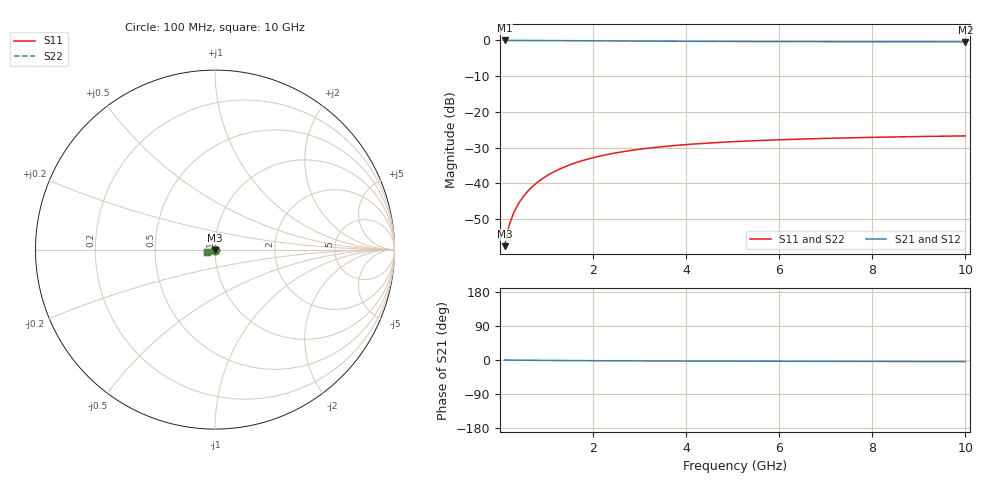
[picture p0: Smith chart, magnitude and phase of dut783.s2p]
! Touchstone file exported from HFSS 2024.1.0
!  File:  C:/UserFiles/LocalFiles/RDL_TSV_Batchsim/temp_TSV1_783_1779874740.aedt
!  Generated:  05:45:04 PM May 27, 2026
!  Design:  TSV1
!  Project:  temp_TSV1_783_1779874740
!  Setup:  Setup1
!  Solution:  Sweep
! Variables:
!  dtsv = 13.31um
!  hbump = 3um
!  htsv = 63.7um
!  lrdl = 252.1521522um
!  p = 40
!  p1 = 49.52um
!  t = 500um
!  trdl = 3um
!  wrdl = 24.89489489um
# GHz S MA R 50.000000
! Terminal data exported
! Port[1] = TSV22_T1
! Port[2] = TSV22_T2
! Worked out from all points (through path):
!   100 points, 100 MHz to 10 GHz, reference 50 ohm
!   highest |S21| = 0.00 dB at 100 MHz (marker M1); lowest = -0.4 dB at 10 GHz (marker M2)
!   lowest |S11| = -57.6 dB at 100 MHz (marker M3), VSWR 1.00, Z = 50 - j0.131 ohm
!   |S11| at or under -10 dB: start of sweep to end of sweep
!   |S22| runs from -57.6 to -26.8 dB; largest |S21 - S12| = 3.2e-15
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0.1  0.001311 -88.3  0.9999 -0.1  0.9999 -0.1  0.001311 -88.3
! Gamma 0 0 0 0
! Port Impedance 50 0 50 0
0.2  0.002616 -91.8  0.9998 -0.2  0.9998 -0.2  0.002616 -91.8
0.3  0.003915 -94.0  0.9995 -0.3  0.9995 -0.3  0.003915 -94.0
0.4  0.005206 -96.0  0.9993 -0.4  0.9993 -0.4  0.005206 -96.0
0.5  0.006484 -97.9  0.9989 -0.6  0.9989 -0.6  0.006484 -97.9
0.6  0.007747 -99.6  0.9985 -0.7  0.9985 -0.7  0.007747 -99.6
0.7  0.008993 -101.4  0.998 -0.8  0.998 -0.8  0.008993 -101.4
0.8  0.01022 -103.1  0.9974 -0.9  0.9974 -0.9  0.01022 -103.1
0.9  0.01142 -104.7  0.9968 -1.0  0.9968 -1.0  0.01142 -104.7
1.1  0.01375 -107.9  0.9955 -1.2  0.9955 -1.2  0.01375 -107.9
1.4  0.01703 -112.4  0.9932 -1.4  0.9932 -1.4  0.01703 -112.4
1.6  0.01906 -115.3  0.9915 -1.6  0.9915 -1.6  0.01906 -115.3
1.8  0.02097 -118.0  0.9899 -1.7  0.9899 -1.7  0.02097 -118.0
2.1  0.02359 -121.8  0.9873 -1.9  0.9873 -1.9  0.02359 -121.8
2.5  0.02666 -126.5  0.984 -2.1  0.984 -2.1  0.02666 -126.5
2.9  0.02928 -130.7  0.9809 -2.3  0.9809 -2.3  0.02928 -130.7
3.4  0.03204 -135.3  0.9772 -2.5  0.9772 -2.5  0.03204 -135.2
4.2  0.0355 -141.4  0.9722 -2.8  0.9722 -2.8  0.0355 -141.4
5.1  0.03839 -147.0  0.9677 -3.1  0.9677 -3.1  0.03839 -147.0
6.7  0.04192 -154.7  0.9618 -3.5  0.9618 -3.5  0.04192 -154.7
8.4  0.04438 -160.9  0.9577 -3.9  0.9577 -3.9  0.04438 -160.9
10  0.04597 -165.7  0.9549 -4.3  0.9549 -4.3  0.04597 -165.7
